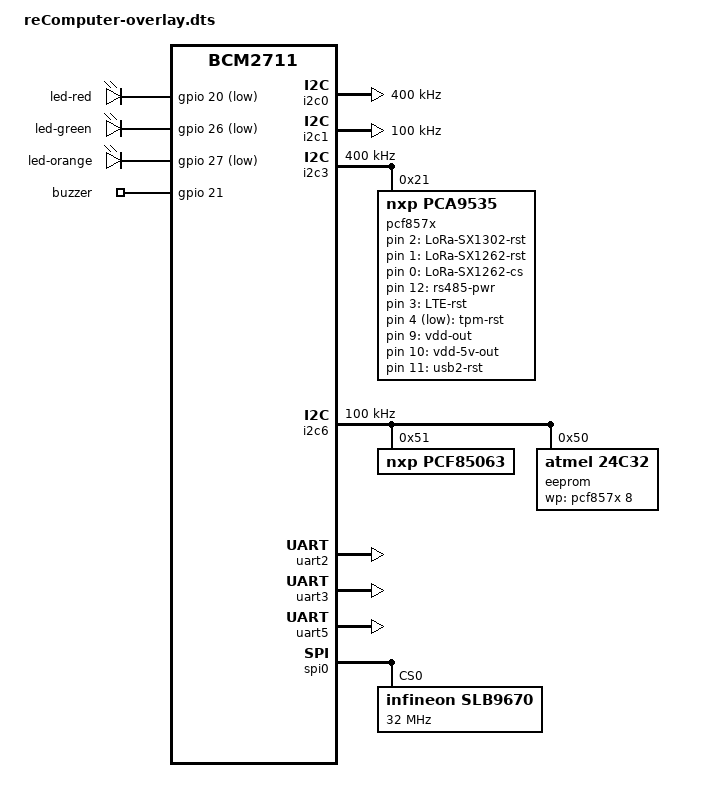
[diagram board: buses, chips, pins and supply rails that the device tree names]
/*
 * Copyright (C) 2021 Seeed Studio
 * ruiqian <ruiqian.tang@seeed.cc>
 *
 * MIT License
 *
 */
 /dts-v1/;
 /plugin/;

 / {
	compatible = "brcm,bcm2835", "brcm,bcm2708", "brcm,bcm2709", "brcm,bcm2711";

	fragment@0 {
        target-path="/";
        __overlay__ {
            hardware = "reComputer V1.0";
        };
    };

	fragment@1 {
		target = <&i2c0>;
		__overlay__ {
			status = "okay";
			clock-frequency = <400000>;
			#address-cells = <1>;
			#size-cells = <0>;
		};
	};

	fragment@2 {
		target = <&i2c1>;
		__overlay__ {
			status = "okay";
			clock-frequency = <100000>;
			#address-cells = <1>;
			#size-cells = <0>;
		};
	};
		
	fragment@3 {
		target = <&i2c3>;
		__overlay__ {
			status = "okay";
			clock-frequency = <400000>;
			#address-cells = <1>;
			#size-cells = <0>;

			pcf857x: pcf@21 {
				compatible = "nxp,pca9535";
				reg = <0x21>;
				status = "okay";

				gpio-controller;
				#gpio-cells = <2>;
			};
		};
	};

	fragment@4 {
		target = <&i2c6>;
		__overlay__ {
			status = "okay";
			clock-frequency = <100000>;
			#address-cells = <1>;
			#size-cells = <0>;
			
			pcf85063@51 {
				compatible = "nxp,pcf85063";
				reg = <0x51>;
				reset-source;
				/* 0 = 4096Hz, 1 = 64Hz, 2 = 1Hz, 3 = 1/60Hz */
				timer-frequency = <0x02>;
				/* Timeout count, max 255 min 2*/
				default-timeout =  <120>;
				min-hw-heartbeat-ms = <2000>;
			};

			eeprom@50 {
				compatible = "atmel,24c32";
				reg = <0x50>;
				wp-gpios = <&pcf857x 8 0>;
			};

		};
	};

	fragment@5 {
		target = <&uart2>;
		__overlay__ {
			label = "RS485_1";
			pinctrl-names = "default";
			pinctrl-0 = <&uart2_pins>;
			rts-gpio = <&gpio 6 1>;
			status = "okay";
		};
	};

	fragment@6 {
		target = <&uart3>;
		__overlay__ {
			label = "RS485_2";
			pinctrl-names = "default";
			pinctrl-0 = <&uart3_pins>;
			rts-gpio = <&gpio 17 1>;
			status = "okay";
		};
	};

	fragment@7 {
		target = <&uart5>;
		__overlay__ {
			label = "RS485_3";
			pinctrl-names = "default";
			pinctrl-0 = <&uart5_pins>;
			rts-gpio = <&gpio 24 1>;
			status = "okay";
		};
	};

	fragment@8 {
		target = <&uart2_pins>;
		__dormant__ {
			brcm,pins = <0 1>;
			brcm,pull = <0 2>;
		};
	};

	fragment@9 {
		target = <&uart3_pins>;
		__dormant__ {
			brcm,pins = <4 5>;
			brcm,pull = <0 2>;
		};
	};

	fragment@a {
		target = <&uart5_pins>;
		__dormant__ {
			brcm,pins = <12 13>;
			brcm,pull = <0 2>;
		};
	};

	fragment@b {
		target = <&spi0>;
		__overlay__ {
			status = "okay";
		};
	};

	fragment@c {
		target = <&spidev0>;
		__overlay__ {
			status = "disabled";
		};
	};

	fragment@d {
		target = <&spi0>;
		__overlay__ {
			#address-cells = <1>;
			#size-cells = <0>;
			slb9670: slb9670@0 {
				compatible = "infineon,slb9670";
				reg = <0>;	/* CE0 */
				#address-cells = <1>;
				#size-cells = <0>;
				spi-max-frequency = <32000000>;
				status = "okay";
			};

		};
	};


	fragment@f {
		target = <&leds>;
		__overlay__ {
			compatible = "gpio-leds";

			led_red: led_red {
				label = "led-red";
				linux,default-trigger = "default-off";
				gpios = <&gpio 20 1>;
				default-state = "off";
			};
			
			led_green: led_green {
				label = "led-green";
				linux,default-trigger = "default-off";
				gpios = <&gpio 26 1>;
				default-state = "off";
			};

			led_orange: led_orange {
				label = "led-orange";
				linux,default-trigger = "default-off";
				gpios = <&gpio 27 1>;
				default-state = "off";
			};

			buzzer: buzzer {
				label = "buzzer";
				linux,default-trigger = "default-off";
				gpios = <&gpio 21 0>;
				default-state = "off";
			};

			LoRa_SX1302_rst:LoRa_SX1302_rst {
				label = "LoRa-SX1302-rst";
				linux,default-trigger = "default-off";
				gpios = <&pcf857x 2 0>;
				default-state = "off";
			};

			LoRa_SX1262_rst:LoRa_SX1262_rst {
				label = "LoRa-SX1262-rst";
				linux,default-trigger = "default-off";
				gpios = <&pcf857x 1 0>;
				default-state = "off";
			};

			LoRa_SX1262_cs:LoRa_SX1262_cs {
				label = "LoRa-SX1262-cs";
				linux,default-trigger = "default-off";
				gpios = <&pcf857x 0 0>;
				default-state = "off";
			};

			rs485_pwr_en:rs485_pwr_en {
				label = "rs485-pwr";
				linux,default-trigger = "default-off";
				gpios = <&pcf857x 12 0>;
				default-state = "off";
			};

			LTE_reset:LTE_reset {
				label = "LTE-rst";
				linux,default-trigger = "default-off";
				gpios = <&pcf857x 3 0>;
				default-state = "off";
			};

			// zigbee_reset:zigbee_reset {
			// 	label = "zigbee-rst";
			// 	linux,default-trigger = "default-off";
			// 	gpios = <&pcf857x 3 0>;
			// 	default-state = "off";
			// };

			tpm_reset:tpm_reset {
				label = "tpm-rst";
				linux,default-trigger = "default-on";
				gpios = <&pcf857x 4 1>;
				default-state = "on";
			};

			vdd_out:vdd_out {
				label = "vdd-out";
				linux,default-trigger = "default-off";
				gpios = <&pcf857x 9 0>;
				default-state = "off";
			};

			vdd_5v_out:vdd_5v_out {
				label = "vdd-5v-out";
				linux,default-trigger = "default-off";
				gpios = <&pcf857x 10 0>;
				default-state = "off";
			};

			usb2_rst:usb2_rst {
				label = "usb2-rst";
				linux,default-trigger = "default-off";
				gpios = <&pcf857x 11 0>;
				default-state = "off";
			};
			
		};
	};

	__overrides__ {
		uart2  = <0>,"=5!1";
		i2c0 = <0>,"!5=1";
	};
};	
